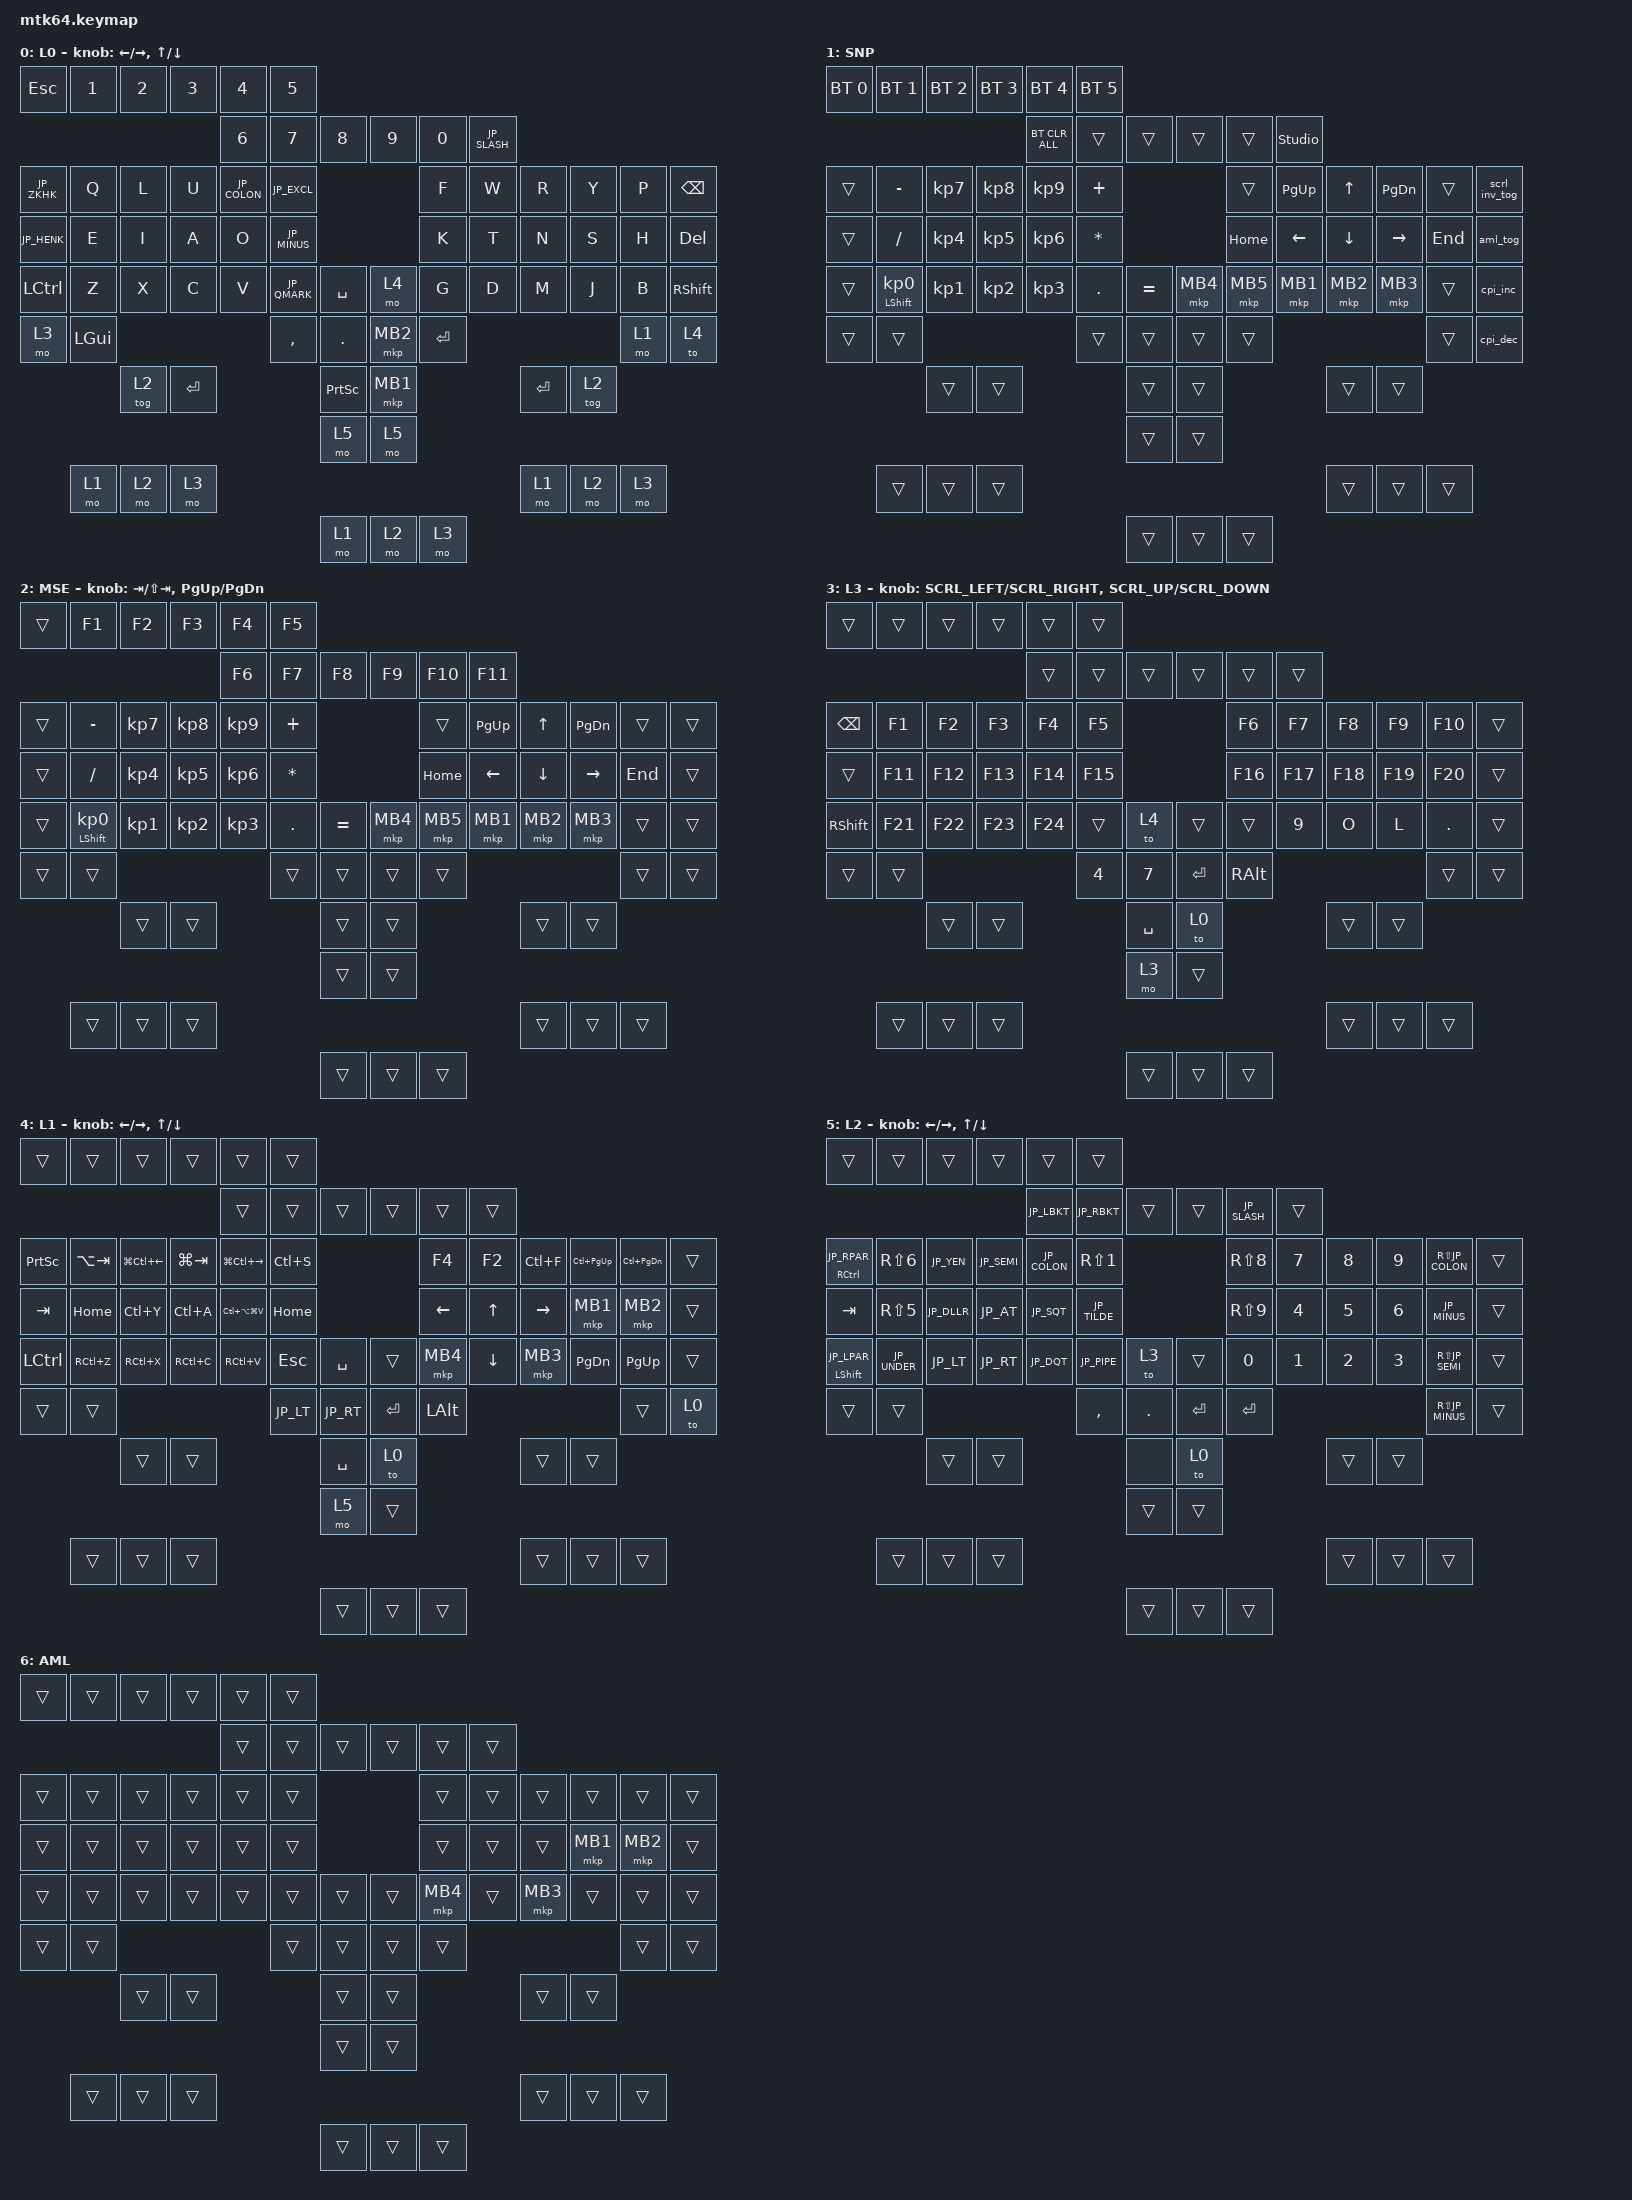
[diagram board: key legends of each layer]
/*
 * mtk64ebt 用キーマップ: Keyball44 (Remap チートシート) ベース + 個別調整 (第6版)
 *
 * 置き場所: フォークした zmk-config-mtk64 の config/mtk64.keymap (上書き)
 * 対象ブランチ: right_left_rev4 (右手ボール・Bluetooth 直結)
 * OS のキーボード設定は「日本語 (JIS)」前提。
 *
 * ■ レイヤーの対応 (Keyball -> mtk64ebt)。表示名は Keyball の番号に合わせて L0〜L3
 *   Layer 0 -> レイヤー0 (L0)
 *   Layer 1 -> レイヤー4 (L1)   TO(1) は &to 4。右下の角で L1 <-> L0 を行き来する
 *   Layer 2 -> レイヤー5 (L2)   MO(2) は &mo 5
 *   Layer 3 -> レイヤー3 (L3)   TO(3)/MO(3) は &to 3 / &mo 3。mtk のスクロール用レイヤーなので、
 *                                Keyball と同じく、このレイヤーではボールがスクロールになる
 *   Layer 4 は使わない (移植していない)
 *   レイヤー1 (SNP: 精密モード・設定・BT切替) / 2 (MSE: マウス・Fキー) は公式のまま。
 *
 * ■ 物理配置の対応 (これまでのファームと同じ考え方)
 *   英字3段 (6列x3段)          -> 上から2〜4段目の同じ位置 (最上段の数字段は公式のまま)
 *   左の最下段2キー (TO(1), MO(2) の位置) -> ? の右隣 / 親指の一番手前の低いキー
 *   左親指3キー                -> 親指アーチ 外側から順
 *   右親指2キー                -> 親指アーチ 内側から順
 *   右下のキー (Alt の位置)    -> 右親指アーチの外側
 *
 * ■ Keyball に無いキー (これまでのファームから変更なし)
 *   左下の角 = 長押しでスクロール(&mo 3) / その右 = Win / 右下の角の左隣 = 長押しで精密・設定(&mo 1)
 *   G の左隣 = 長押しで L1 / 右親指の一番手前 = 長押しで L2
 *   数字段・エンコーダー押し込み・フットスイッチ = 公式のまま
 */

#include <behaviors.dtsi>
#include <dt-bindings/zmk/bt.h>
#include <dt-bindings/zmk/keys.h>
#include <dt-bindings/zmk/pointing.h>
#include <input/processors.dtsi>
#include "keycode_japanese.h"

// スクロール量の設定
#define ZMK_POINTING_DEFAULT_SCRL_VAL 100

&mt {
    flavor = "balanced";
    quick-tap-ms = <0>;
};

&mkp_input_listener {
    input-processors = <&zip_aml 6 5000>;
};

// 自動マウスレイヤー中も「取り消し」にならないキー位置 (= レイヤー6 のマウスボタンの位置)
&zip_aml {
    excluded-positions = <33 34 44 46>;
};

/ {
    behaviors {
        // 垂直スクロール用のbehaviorの設定
        scroll_up_down: behavior_sensor_rotate_mouse_wheel_up_down {
            compatible = "zmk,behavior-sensor-rotate-var";
            #sensor-binding-cells = <2>;
            bindings = <&msc>, <&msc>;
            tap-ms = <20>; // スクロールのタップ時間
        };
        // 水平スクロール用のbehaviorの設定
        scroll_left_right: behavior_sensor_rotate_mouse_wheel_left_right {
            compatible = "zmk,behavior-sensor-rotate-var";
            #sensor-binding-cells = <2>;
            bindings = <&msc>, <&msc>;
            tap-ms = <20>; // スクロールのタップ時間
        };
    };
};

/ {

    keymap {
        compatible = "zmk,keymap";

        // ===== レイヤー0: Keyball Layer 0 + 調整 (: / Space / PrintScreen / 右クリック / Enter / L1切替。右端は上から ・(JIS の / キー) / BS / Del / 右Shift) =====
        default_layer {
            display-name = "L0";
            bindings = <
&kp ESC      &kp N1    &kp N2  &kp N3     &kp N4  &kp N5                                  &kp N6     &kp N7    &kp N8     &kp N9  &kp N0  &kp JP_SLASH
&kp JP_ZKHK  &kp Q     &kp L   &kp U      &kp JP_COLON  &kp JP_EXCL                             &kp F      &kp W     &kp R      &kp Y   &kp P   &kp BSPC
&kp JP_HENK  &kp E     &kp I   &kp A      &kp O   &kp JP_MINUS                            &kp K      &kp T     &kp N      &kp S   &kp H   &kp DEL
&kp LCTRL    &kp Z     &kp X   &kp C      &kp V   &kp JP_QMARK  &kp SPACE           &mo 4     &kp G      &kp D     &kp M      &kp J   &kp B   &kp RSHFT
&mo 3        &kp LGUI                             &kp COMMA     &kp DOT         &mkp MB2 &kp ENTER                                &mo 1   &to 4
                       &tog 2  &kp ENTER                        &kp PSCRN       &mkp MB1                       &kp ENTER  &tog 2
                                                                &mo 5           &mo 5
             &mo 1     &mo 2   &mo 3                                                                           &mo 1      &mo 2   &mo 3
                                                                &mo 1    &mo 2  &mo 3
            >;

            sensor-bindings = <
                &inc_dec_kp LEFT_ARROW RIGHT_ARROW
                &inc_dec_kp UP_ARROW   DOWN_ARROW
            >;
        };

        // ===== レイヤー1: 精密モード・設定・BT切替 (公式のまま) =====
        layer_1 {
            display-name = "SNP";
            bindings = <
&bt BT_SEL 0  &bt BT_SEL 1  &bt BT_SEL 2  &bt BT_SEL 3  &bt BT_SEL 4  &bt BT_SEL 5
                                                                    &bt BT_CLR_ALL  &trans  &trans  &trans  &trans  &studio_unlock
&trans  &kp MINUS                   &kp KP_NUMBER_7  &kp KP_NUMBER_8  &kp KP_NUMBER_9  &kp PLUS                                    &trans            &kp PG_UP          &kp UP_ARROW    &kp PG_DN             &trans                &scrl_inv_tog
&trans  &kp SLASH                   &kp KP_NUMBER_4  &kp KP_NUMBER_5  &kp KP_NUMBER_6  &kp ASTERISK                                &kp HOME          &kp LEFT_ARROW     &kp DOWN_ARROW  &kp RIGHT_ARROW       &kp END               &aml_tog
&trans  &mt LEFT_SHIFT KP_NUMBER_0  &kp KP_NUMBER_1  &kp KP_NUMBER_2  &kp KP_NUMBER_3  &kp PERIOD    &kp EQUAL      &mkp MB4       &mkp MB5          &mkp MB1           &mkp MB2        &mkp MB3              &trans                &cpi_inc
&trans  &trans                                                                         &trans        &trans         &trans         &trans                                                                     &trans                &cpi_dec
                                    &trans           &trans                                          &trans         &trans                                              &trans          &trans
                                                                                                     &trans         &trans
        &trans                      &trans           &trans                                                                                                             &trans          &trans                &trans
                                                                                                     &trans &trans  &trans
            >;
        };

        // ===== レイヤー2: マウス・Fキー (公式のまま) =====
        layer_2 {
            display-name = "MSE";
            bindings = <
&trans  &kp F1                      &kp F2           &kp F3           &kp F4           &kp F5                                      &kp F6            &kp F7             &kp F8          &kp F9                &kp F10               &kp F11
&trans  &kp MINUS                   &kp KP_NUMBER_7  &kp KP_NUMBER_8  &kp KP_NUMBER_9  &kp PLUS                                    &trans            &kp PG_UP          &kp UP_ARROW    &kp PG_DN             &trans                &trans
&trans  &kp SLASH                   &kp KP_NUMBER_4  &kp KP_NUMBER_5  &kp KP_NUMBER_6  &kp ASTERISK                                &kp HOME          &kp LEFT_ARROW     &kp DOWN_ARROW  &kp RIGHT_ARROW       &kp END               &trans
&trans  &mt LEFT_SHIFT KP_NUMBER_0  &kp KP_NUMBER_1  &kp KP_NUMBER_2  &kp KP_NUMBER_3  &kp PERIOD    &kp EQUAL      &mkp MB4       &mkp MB5          &mkp MB1           &mkp MB2        &mkp MB3              &trans                &trans
&trans  &trans                                                                         &trans        &trans         &trans         &trans                                                                     &trans                &trans
                                    &trans           &trans                                          &trans         &trans                                              &trans          &trans
                                                                                                     &trans         &trans
        &trans                      &trans           &trans                                                                                                             &trans          &trans                &trans
                                                                                                     &trans &trans  &trans
            >;
            sensor-bindings = <
                &inc_dec_kp TAB LS(TAB)
                &inc_dec_kp PG_UP PG_DN
            >;
        };

        // ===== レイヤー3: Keyball Layer 3 (F1-F24)。ボールはスクロールになる =====
        layer_3 {
            display-name = "L3";
            bindings = <
&trans     &trans   &trans   &trans   &trans   &trans                               &trans   &trans   &trans   &trans   &trans   &trans
&kp BSPC   &kp F1   &kp F2   &kp F3   &kp F4   &kp F5                               &kp F6   &kp F7   &kp F8   &kp F9   &kp F10  &trans
&trans     &kp F11  &kp F12  &kp F13  &kp F14  &kp F15                              &kp F16  &kp F17  &kp F18  &kp F19  &kp F20  &trans
&kp RSHFT  &kp F21  &kp F22  &kp F23  &kp F24  &trans   &to 4            &trans     &trans   &kp N9   &kp O    &kp L    &kp DOT  &trans
&trans     &trans                              &kp N4   &kp N7           &kp ENTER  &kp RALT                            &trans   &trans
                    &trans   &trans                     &kp SPACE        &to 0                        &trans   &trans
                                                        &mo 3            &trans
           &trans   &trans   &trans                                                                   &trans   &trans   &trans
                                                        &trans   &trans  &trans
            >;
            sensor-bindings = <
                &scroll_left_right SCRL_LEFT SCRL_RIGHT
                &scroll_up_down SCRL_UP SCRL_DOWN
            >;
        };

        // ===== レイヤー4: Keyball Layer 1 ベース。数字は数字段 (レイヤー0 と同じ位置) を使い、
        //       空いた上段に 画面切り替え (左) と Office 編集 (右) のショートカットを配置 =====
        // Keyball に無いキーは &trans (レイヤー0 が透ける)
        layer_4 {
            display-name = "L1";
            bindings = <
&trans     &trans     &trans     &trans     &trans               &trans                              &trans    &trans    &trans     &trans     &trans     &trans
&kp PSCRN  &kp LA(TAB)  &kp LG(LC(LEFT))  &kp LG(TAB)  &kp LG(LC(RIGHT))  &kp LC(S)                              &kp F4    &kp F2    &kp LC(F)  &kp LC(PG_UP)  &kp LC(PG_DN)  &trans
&kp TAB    &kp HOME   &kp LC(Y)  &kp LC(A)  &kp LC(LA(LG(V)))    &kp HOME                            &kp LEFT  &kp UP    &kp RIGHT  &mkp MB1   &mkp MB2   &trans
&kp LCTRL  &kp RC(Z)  &kp RC(X)  &kp RC(C)  &kp RC(V)            &kp ESC    &kp SPACE          &trans    &mkp MB4  &kp DOWN  &mkp MB3   &kp PG_DN  &kp PG_UP  &trans
&trans     &trans                                                &kp JP_LT  &kp JP_RT      &kp ENTER &kp LALT                                  &trans     &to 0
                      &trans     &trans                                     &kp SPACE      &to 0                         &trans     &trans
                                                                            &mo 5          &trans
           &trans     &trans     &trans                                                                                  &trans     &trans     &trans
                                                                            &trans  &trans &trans
            >;
            sensor-bindings = <
                &inc_dec_kp LEFT_ARROW RIGHT_ARROW
                &inc_dec_kp UP_ARROW   DOWN_ARROW
            >;
        };

        // ===== レイヤー5: Keyball Layer 2 (記号・右手テンキー) =====
        // 左端の上段・下段は Remap の表示どおり「長押し = 修飾キー / タップ = 括弧」
        // 右手: 右端はレイヤー0 と同じ (&trans) / 右から2列目は上から ÷ × − + = / 数字は電卓配列のまま1列左へ
        layer_5 {
            display-name = "L2";
            bindings = <
&trans               &trans        &trans      &trans       &trans        &trans                                     &kp JP_LBKT  &kp JP_RBKT  &trans  &trans  &kp JP_SLASH     &trans
&mt RCTRL JP_RPAR    &kp RS(N6)    &kp JP_YEN  &kp JP_SEMI  &kp JP_COLON  &kp RS(N1)                                 &kp RS(N8)   &kp N7       &kp N8  &kp N9  &kp RS(JP_COLON) &trans
&kp TAB              &kp RS(N5)    &kp JP_DLLR &kp JP_AT    &kp JP_SQT    &kp JP_TILDE                               &kp RS(N9)   &kp N4       &kp N5  &kp N6  &kp JP_MINUS     &trans
&mt LSHFT JP_LPAR    &kp JP_UNDER  &kp JP_LT   &kp JP_RT    &kp JP_DQT    &kp JP_PIPE   &to 3           &trans       &kp N0       &kp N1       &kp N2  &kp N3  &kp RS(JP_SEMI)  &trans
&trans               &trans                                               &kp COMMA     &kp DOT         &kp ENTER    &kp ENTER                                 &kp RS(JP_MINUS) &trans
                                   &trans      &trans                                   &none           &to 0                                  &trans  &trans
                                                                                        &trans          &trans
                     &trans        &trans      &trans                                                                                          &trans  &trans  &trans
                                                                                        &trans   &trans &trans
            >;
            sensor-bindings = <
                &inc_dec_kp LEFT_ARROW RIGHT_ARROW
                &inc_dec_kp UP_ARROW   DOWN_ARROW
            >;
        };

        // ===== レイヤー6: 自動マウス (ボールを動かした直後に約5秒間入る) =====
        // マウスボタンの位置を Keyball Layer 1 に合わせる: S=左 / H=右 / M=中 / G=戻る
        layer_6 {
            display-name = "AML";
            bindings = <
&trans  &trans  &trans  &trans  &trans  &trans                      &trans    &trans  &trans    &trans    &trans    &trans
&trans  &trans  &trans  &trans  &trans  &trans                      &trans    &trans  &trans    &trans    &trans    &trans
&trans  &trans  &trans  &trans  &trans  &trans                      &trans    &trans  &trans    &mkp MB1  &mkp MB2  &trans
&trans  &trans  &trans  &trans  &trans  &trans  &trans      &trans  &mkp MB4  &trans  &mkp MB3  &trans    &trans    &trans
&trans  &trans                          &trans  &trans      &trans  &trans                                &trans    &trans
                &trans  &trans                  &trans      &trans                    &trans    &trans
                                                &trans      &trans
        &trans  &trans  &trans                                                        &trans    &trans    &trans
                                               &trans &trans &trans
            >;
        };
    };
};
